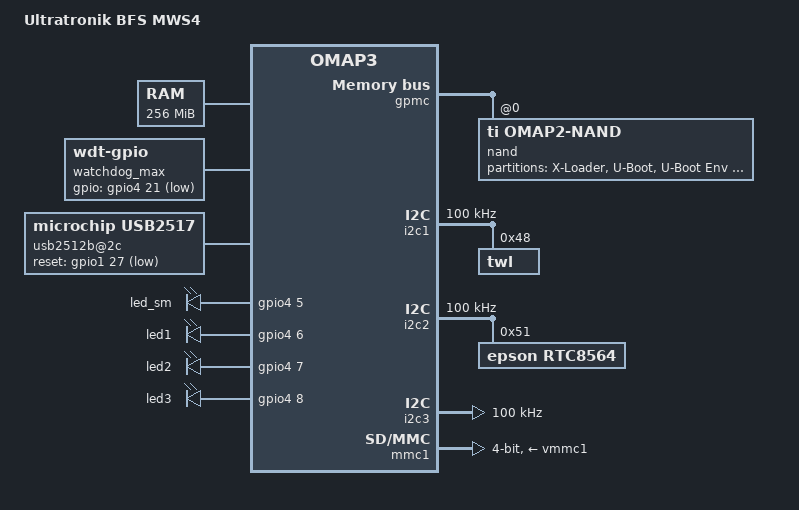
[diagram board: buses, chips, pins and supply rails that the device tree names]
/*
 * Copyright (C) 2011 Texas Instruments Incorporated - http://www.ti.com/
 *
 * Modified 2015 by Bernhard Gätzschmann, Ultratronik from Beagleboard xM
 *
 * This program is free software; you can redistribute it and/or modify
 * it under the terms of the GNU General Public License version 2 as
 * published by the Free Software Foundation.
 */
 // mod for BfS ulbricht@innoroute.de 2021
/dts-v1/;
// pinnumbering: 32PINS JE BANK
//https://github.com/Moxa-Linux/BIOS-UC-8200_source_code/blob/master/arch/arm/include/asm/arch-omap3/mux.h fuer addressen
//https://elixir.bootlin.com/linux/latest/source/arch/arm/boot/dts/omap3-cm-t3730.dts
#include "omap36xx.dtsi"
/ {
	model = "Ultratronik BFS MWS4";
	compatible = "ti,omap3-mmi4", "ti,omap36xx", "ti,omap3";
	
	cpus {
			cpu@0 {
				cpu0-supply = <&vcc>;
			};
		};
	memory {
		device_type = "memory";
		reg = <0x80000000 0x10000000>; // 256 MB 
	};
	aliases {
		i2c0 = &i2c1;
		i2c1 = &i2c2;
		i2c2 = &i2c3;
		serial0 = &uart1;
		serial1 = &uart2;
		serial2 = &uart3;
		mmc1 = &mmc1;
	};
	netcard: AX88796BLI@ffdf0000 {
    compatible = "ax88796_dt";
    reg = <0xffdf0000 0x1000> ;
 
     //reg = address of device and size 
     //(Minimum is System's Pagesize = 0x1000 Byte in my case

};

	watchdog_max: watchdog {
		compatible = "linux,wdt-gpio";
		gpios = <&gpio4 21 1>; //117
		hw_algo = "toggle";
		always-running;
		hw_margin_ms = <900>;
	};
	usb2512b@2c {
		compatible = "microchip,usb2517";
//		reg = <0x2c>;
		reset-gpios = <&gpio1 27 GPIO_ACTIVE_LOW>;
	};
		hsusb1_phy: hsusb1_phy {
		status = "disabled";
	};

	/* HS USB Host PHY on PORT 2 */
	hsusb2_phy: hsusb2_phy {
		status = "disabled";
	};
leds {
		compatible = "gpio-leds";
		pinctrl-names = "default";
		pinctrl-0 = <&led_pins>;
		led_sm {
			label = "led_sm";
			gpios = <&gpio4 5 GPIO_ACTIVE_HIGH>; /* 101 */
			
		};
		led1 {
			label = "led1";
			gpios = <&gpio4 6 GPIO_ACTIVE_HIGH>; /* 102 */
			linux,default-trigger = "cpu";
		};
		led2 {
			label = "led2";
			gpios = <&gpio4 7 GPIO_ACTIVE_HIGH>; /* 103 */
			linux,default-trigger = "mmc0";
		};
		led3 {
			label = "led3";
			gpios = <&gpio4 8 GPIO_ACTIVE_HIGH>; /* 104 */
			linux,default-trigger = "usb-host";
		};
	};
};
&gpmc {
	ranges = <0 0 0x30000000 0x1000000	/* CS0 space, 16MB */
		  255 0 0x6e000000 0x02d4>;	/* register space */

	/* Chip select 0 */
	nand@0,0 {
		compatible = "ti,omap2-nand";
		reg = <0 0 4		/* NAND I/O window, 4 bytes */
		       255 0 0x02d4>;	/* GPMC register space */
		interrupts = <20>;
		ti,nand-ecc-opt = "ham1";
		nand-bus-width = <16>;
		#address-cells = <1>;
		#size-cells = <1>;

		gpmc,cs-on-ns = <0>;
		gpmc,cs-rd-off-ns = <36>;
		gpmc,cs-wr-off-ns = <36>;
		gpmc,adv-on-ns = <6>;
		gpmc,adv-rd-off-ns = <24>;
		gpmc,adv-wr-off-ns = <36>;
		gpmc,oe-on-ns = <6>;
		gpmc,oe-off-ns = <48>;
		gpmc,we-on-ns = <6>;
		gpmc,we-off-ns = <30>;
		gpmc,rd-cycle-ns = <72>;
		gpmc,wr-cycle-ns = <72>;
		gpmc,access-ns = <54>;
		gpmc,wr-access-ns = <30>;

		partition@0 {
			label = "X-Loader";
			reg = <0 0x80000>;
		};
		partition@80000 {
			label = "U-Boot";
			reg = <0x80000 0x1e0000>;
		};
		partition@1c0000 {
			label = "U-Boot Env";
			reg = <0x260000 0x20000>;
		};
		partition@280000 {
			label = "Kernel";
			reg = <0x280000 0x400000>;
		};
		partition@780000 {
			label = "Filesystem";
			reg = <0x680000 0xf980000>;
		};
	};
};
&usbhshost {
	status = "disabled";
};
&omap3_pmx_core {
/*	uart3_pins: pinmux_uart3_pins {*/
/*		pinctrl-single,pins = <*/
/*			OMAP3_CORE1_IOPAD(0x219e, PIN_INPUT  | MUX_MODE0)	// uart3_rx_irrx.uart3_rx_irrx */
/*			OMAP3_CORE1_IOPAD(0x21a0, PIN_OUTPUT | MUX_MODE0)	// uart3_tx_irtx.uart3_tx_irtx */
/*		>;*/
/*	};*/
		mmc1_pins: pinmux_mmc1_pins {
		pinctrl-single,pins = <
			OMAP3_CORE1_IOPAD(0x2144, PIN_INPUT_PULLUP | MUX_MODE0)	/* sdmmc1_clk.sdmmc1_clk */
			OMAP3_CORE1_IOPAD(0x2146, PIN_INPUT_PULLUP | MUX_MODE0)	/* sdmmc1_cmd.sdmmc1_cmd */
			OMAP3_CORE1_IOPAD(0x2148, PIN_INPUT_PULLUP | MUX_MODE0)	/* sdmmc1_dat0.sdmmc1_dat0 */
			OMAP3_CORE1_IOPAD(0x214a, PIN_INPUT_PULLUP | MUX_MODE0)	/* sdmmc1_dat1.sdmmc1_dat1 */
			OMAP3_CORE1_IOPAD(0x214c, PIN_INPUT_PULLUP | MUX_MODE0)	/* sdmmc1_dat2.sdmmc1_dat2 */
			OMAP3_CORE1_IOPAD(0x214e, PIN_INPUT_PULLUP | MUX_MODE0)	/* sdmmc1_dat3.sdmmc1_dat3 */
		>;
	};
	wd_pins: pinmux_wd_pins {
		pinctrl-single,pins = <
			OMAP3_CORE1_IOPAD(0x213e, PIN_OUTPUT | MUX_MODE4)	// CONTROL_PADCONF_MCBSP2_CLKX	0x013E 
		>;
	};
	i2c1_pins: pinmux_i2c1_pins {
		pinctrl-single,pins = <
			OMAP3_CORE1_IOPAD(0x21ba, PIN_INPUT_PULLUP | MUX_MODE0)	/* i2c1_scl */
			OMAP3_CORE1_IOPAD(0x21bc, PIN_INPUT_PULLUP | MUX_MODE0)	/* i2c1_sda */
		>;
	};
 	hsusb0_pins: pinmux_hsusb0_pins {
		pinctrl-single,pins = <
			OMAP3_CORE1_IOPAD(0x21a2, PIN_INPUT | MUX_MODE0)		/* hsusb0_clk.hsusb0_clk */
			OMAP3_CORE1_IOPAD(0x21a4, PIN_OUTPUT | MUX_MODE0)		/* hsusb0_stp.hsusb0_stp */
			OMAP3_CORE1_IOPAD(0x21a6, PIN_INPUT | MUX_MODE0)	/* hsusb0_dir.hsusb0_dir */
			OMAP3_CORE1_IOPAD(0x21a8, PIN_INPUT | MUX_MODE0)	/* hsusb0_nxt.hsusb0_nxt */
			OMAP3_CORE1_IOPAD(0x21aa, PIN_INPUT | MUX_MODE0)	/* hsusb0_data0.hsusb2_data0 */
			OMAP3_CORE1_IOPAD(0x21ac, PIN_INPUT | MUX_MODE0)	/* hsusb0_data1.hsusb0_data1 */
			OMAP3_CORE1_IOPAD(0x21ae, PIN_INPUT | MUX_MODE0)	/* hsusb0_data2.hsusb0_data2 */
			OMAP3_CORE1_IOPAD(0x21b0, PIN_INPUT | MUX_MODE0)	/* hsusb0_data7.hsusb0_data3 */
			OMAP3_CORE1_IOPAD(0x21b2, PIN_INPUT | MUX_MODE0)	/* hsusb0_data7.hsusb0_data4 */
			OMAP3_CORE1_IOPAD(0x21b4, PIN_INPUT | MUX_MODE0)	/* hsusb0_data7.hsusb0_data5 */
			OMAP3_CORE1_IOPAD(0x21b6, PIN_INPUT | MUX_MODE0)	/* hsusb0_data7.hsusb0_data6 */
			OMAP3_CORE1_IOPAD(0x21b8, PIN_INPUT | MUX_MODE0)	/* hsusb0_data7.hsusb0_data7 */
		>;
	};
	led_pins: pinmux_led_pins {
		pinctrl-single,pins = <
			OMAP3_CORE1_IOPAD(0x211a, PIN_OUTPUT | MUX_MODE4)	/* gpio101*/
			OMAP3_CORE1_IOPAD(0x211c, PIN_OUTPUT | MUX_MODE4)	/* gpio102*/
			OMAP3_CORE1_IOPAD(0x211e, PIN_OUTPUT | MUX_MODE4)	/* gpio103 */
			OMAP3_CORE1_IOPAD(0x2120, PIN_OUTPUT | MUX_MODE4)	/* gpio103 */
		>;
	};
		gpio_pins: pinmux_gpio_pins {
		pinctrl-single,pins = <
			OMAP3_CORE1_IOPAD(0x2122, PIN_INPUT | MUX_MODE4)	/* gpio105 spontanmeldung*/
			OMAP3_CORE1_IOPAD(0x212c, PIN_OUTPUT | MUX_MODE4)	/* gpio110 usb2_en*/
			OMAP3_CORE1_IOPAD(0x218C, PIN_OUTPUT | MUX_MODE4)	/* GPO0*/
			OMAP3_CORE1_IOPAD(0x218E, PIN_OUTPUT | MUX_MODE4)	/* GPO1*/
			OMAP3_CORE1_IOPAD(0x2190, PIN_OUTPUT | MUX_MODE4)	/* GPO2*/
			OMAP3_CORE1_IOPAD(0x2192, PIN_OUTPUT | MUX_MODE4)	/* GPO3*/
			OMAP3_CORE1_IOPAD(0x2194, PIN_OUTPUT | MUX_MODE4)	/* GPO4*/
			OMAP3_CORE1_IOPAD(0x2196, PIN_OUTPUT | MUX_MODE4)	/* GPO5*/
			OMAP3_CORE1_IOPAD(0x2198, PIN_OUTPUT | MUX_MODE4)	/* GPO6*/
			OMAP3_CORE1_IOPAD(0x2116, PIN_INPUT | MUX_MODE4) //IN1
			OMAP3_CORE1_IOPAD(0x2118, PIN_INPUT | MUX_MODE4) //IN2
			OMAP3_CORE1_IOPAD(0x2124, PIN_INPUT | MUX_MODE4) //IN3
			OMAP3_CORE1_IOPAD(0x2126, PIN_INPUT | MUX_MODE4) //IN4
			OMAP3_CORE1_IOPAD(0x2128, PIN_INPUT | MUX_MODE4) //IN5
			OMAP3_CORE1_IOPAD(0x25F4, PIN_OUTPUT | MUX_MODE4)	/* RES_RS232*/
			OMAP3_CORE1_IOPAD(0x25F6, PIN_OUTPUT | MUX_MODE4)	/* HUB_RESET*/

		>;
	};
	
};
&i2c1 {
	pinctrl-names = "default";
	pinctrl-0 = <&i2c1_pins>;

	clock-frequency = <100000>;
	twl: twl@48 {
		reg = <0x48>;
		interrupts = <7>; /* SYS_NIRQ cascaded to intc */
		interrupt-parent = <&intc>;


	};
};
&i2c2 {
	clock-frequency = <100000>;
	rtc8564: rtc8564@51 {
		compatible = "epson,rtc8564";
		reg = <0x51>;
		#clock-cells = <0>;
	};
};
&i2c3 {
	clock-frequency = <100000>;
};
#include "twl4030.dtsi"
#include "twl4030_omap3.dtsi"
&mmc1 {
	vmmc-supply = <&vmmc1>;
	vqmmc-supply = <&vsim>;
	bus-width = <4>;
};
&mmc2 {
	status = "disabled";
};

&mmc3 {
	status = "disabled";
};
&uart1 {
	pinctrl-names = "default";
//	pinctrl-0 = <&uart1_pins>;
};
&uart2 {
	pinctrl-names = "default";
//	pinctrl-0 = <&uart2_pins>;
};
&uart3 {
	pinctrl-names = "default";
//	pinctrl-0 = <&uart3_pins>;
};


&usb_otg_hs {
	interface-type = <1>;
	mode = <3>;
	power = <50>;
};

&iva {
	status = "disabled";
};

&sgx_module {
	status = "disabled";
};

